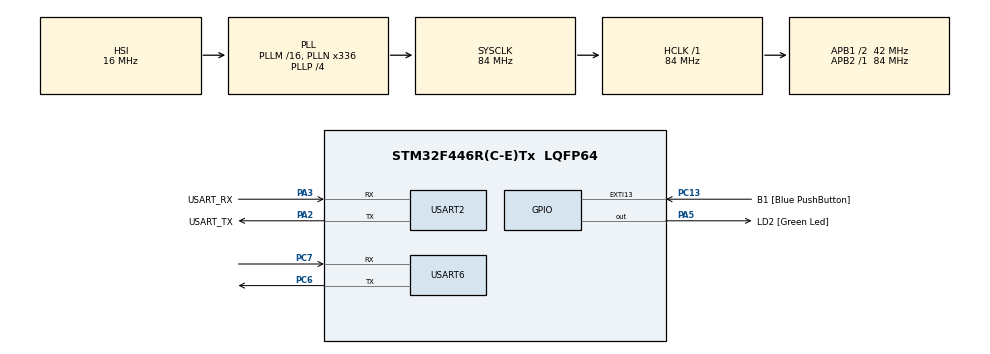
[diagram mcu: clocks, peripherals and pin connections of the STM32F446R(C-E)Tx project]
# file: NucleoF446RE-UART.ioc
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Mcu.Family=STM32F4
Mcu.Name=STM32F446R(C-E)Tx
Mcu.Package=LQFP64
NVIC.PriorityGroup=NVIC_PRIORITYGROUP_0
PA13.GPIO_Label=TMS
PA13.Mode=Serial_Wire
PA13.Signal=SYS_JTMS-SWDIO
PA14.GPIO_Label=TCK
PA14.Mode=Serial_Wire
PA14.Signal=SYS_JTCK-SWCLK
PA2.GPIO_Label=USART_TX
PA2.Mode=Asynchronous
PA2.Signal=USART2_TX
PA3.GPIO_Label=USART_RX
PA3.Mode=Asynchronous
PA3.Signal=USART2_RX
PA5.GPIO_Label=LD2 [Green Led]
PA5.Signal=GPIO_Output
PB3.GPIO_Label=SWO
PB3.Signal=SYS_JTDO-SWO
PC13.GPIO_Label=B1 [Blue PushButton]
PC13.GPIO_ModeDefaultEXTI=GPIO_MODE_IT_FALLING
PC13.Signal=GPXTI13
PC14-OSC32_IN.Mode=LSE-External-Oscillator
PC14-OSC32_IN.Signal=RCC_OSC32_IN
PC15-OSC32_OUT.Mode=LSE-External-Oscillator
PC15-OSC32_OUT.Signal=RCC_OSC32_OUT
PC6.Mode=Asynchronous
PC6.Signal=USART6_TX
PC7.Mode=Asynchronous
PC7.Signal=USART6_RX
PH0-OSC_IN.Mode=HSE-External-Oscillator
PH0-OSC_IN.Signal=RCC_OSC_IN
PH1-OSC_OUT.Mode=HSE-External-Oscillator
PH1-OSC_OUT.Signal=RCC_OSC_OUT
ProjectManager.HeapSize=0x200
ProjectManager.StackSize=0x400
ProjectManager.TargetToolchain=STM32CubeIDE
RCC.48MHZClocksFreq_Value=84000000
RCC.AHBFreq_Value=84000000
RCC.APB1CLKDivider=RCC_HCLK_DIV2
RCC.APB1Freq_Value=42000000
RCC.APB1TimFreq_Value=84000000
RCC.APB2Freq_Value=84000000
RCC.APB2TimFreq_Value=84000000
RCC.CortexFreq_Value=84000000
RCC.FLatency-AdvancedSettings=FLASH_LATENCY_2
RCC.HCLKFreq_Value=84000000
RCC.HSE_VALUE=8000000
RCC.HSI_VALUE=16000000
RCC.PLLN=336
RCC.PLLP=RCC_PLLP_DIV4
RCC.SYSCLKFreq_VALUE=84000000
RCC.SYSCLKSource=RCC_SYSCLKSOURCE_PLLCLK
RCC.USBFreq_Value=168000000
RCC.VCOOutputFreq_Value=336000000
USART2.VirtualMode=VM_ASYNC
USART6.VirtualMode=VM_ASYNC
board=NUCLEO-F446RE

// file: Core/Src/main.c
/* USER CODE BEGIN Header */
/**
  ******************************************************************************
  * @file           : main.c
  * @brief          : Main program body
  ******************************************************************************
  * @attention
  *
  * Copyright (c) 2024 STMicroelectronics.
  * All rights reserved.
  *
  * This software is licensed under terms that can be found in the LICENSE file
  * in the root directory of this software component.
  * If no LICENSE file comes with this software, it is provided AS-IS.
  *
  ******************************************************************************
  */
/* USER CODE END Header */
#include "main.h"

/* USER CODE BEGIN Includes */
#include <stdio.h>
/* USER CODE END Includes */

/* USER CODE BEGIN PD */
#ifdef __GNUC__
	#define PUTCHAR_PROTOTYPE int __io_putchar(int ch)
#else
	#define PUTCHAR_PROTOTYPE int fputc(int ch, FILE *f)
#endif /*__GNUC__*/
/* USER CODE END PD */

UART_HandleTypeDef huart2;
UART_HandleTypeDef huart6;

void SystemClock_Config(void);
static void MX_GPIO_Init(void);
static void MX_USART2_UART_Init(void);
static void MX_USART6_UART_Init(void);

/* USER CODE BEGIN 0 */
uint8_t data[10];
/* USER CODE END 0 */

int main(void)
{

  /* MCU Configuration--------------------------------------------------------*/

  /* Reset of all peripherals, Initializes the Flash interface and the Systick. */
  HAL_Init();

  /* Configure the system clock */
  SystemClock_Config();

  /* Initialize all configured peripherals */
  MX_GPIO_Init();
  MX_USART2_UART_Init();
  MX_USART6_UART_Init();
  /* USER CODE BEGIN 2 */
  printf("Start\n");
  /* USER CODE END 2 */

  /* Infinite loop */
  /* USER CODE BEGIN WHILE */
  while (1)
  {

	  uint8_t header[4] = {0xFF, 0xFF, 0xFD, 0x00};
	  uint8_t errcnt = 0;

	  HAL_UART_Receive(&huart6, (uint8_t*)data, sizeof(data)/sizeof(data[0]), 0xFFFF);

	  for(int i = 0; i < 4; i++) {
		  if(header[i] != data[i]) {
			  errcnt++;
		  }
	  }

	  uint16_t angle[3] = {0};

	  if(errcnt == 0) {
		  for(int i = 0; i < 3; i++) {
			  uint8_t _H, _L;
			  _H = data[4+i*2];
			  _L = data[5+i*2];

			  angle[i] = (_H << 8) | _L;
			  printf("%u ", angle[i]);
		  }
	  }

	  printf("\n");

    /* USER CODE END WHILE */

  }
}

void SystemClock_Config(void)
{
  RCC_OscInitTypeDef RCC_OscInitStruct = {0};
  RCC_ClkInitTypeDef RCC_ClkInitStruct = {0};

  /** Configure the main internal regulator output voltage
  */
  __HAL_RCC_PWR_CLK_ENABLE();
  __HAL_PWR_VOLTAGESCALING_CONFIG(PWR_REGULATOR_VOLTAGE_SCALE3);

  /** Initializes the RCC Oscillators according to the specified parameters
  * in the RCC_OscInitTypeDef structure.
  */
  RCC_OscInitStruct.OscillatorType = RCC_OSCILLATORTYPE_HSI;
  RCC_OscInitStruct.HSIState = RCC_HSI_ON;
  RCC_OscInitStruct.HSICalibrationValue = RCC_HSICALIBRATION_DEFAULT;
  RCC_OscInitStruct.PLL.PLLState = RCC_PLL_ON;
  RCC_OscInitStruct.PLL.PLLSource = RCC_PLLSOURCE_HSI;
  RCC_OscInitStruct.PLL.PLLM = 16;
  RCC_OscInitStruct.PLL.PLLN = 336;
  RCC_OscInitStruct.PLL.PLLP = RCC_PLLP_DIV4;
  RCC_OscInitStruct.PLL.PLLQ = 2;
  RCC_OscInitStruct.PLL.PLLR = 2;
  if (HAL_RCC_OscConfig(&RCC_OscInitStruct) != HAL_OK)
  {
    Error_Handler();
  }

  /** Initializes the CPU, AHB and APB buses clocks
  */
  RCC_ClkInitStruct.ClockType = RCC_CLOCKTYPE_HCLK|RCC_CLOCKTYPE_SYSCLK
                              |RCC_CLOCKTYPE_PCLK1|RCC_CLOCKTYPE_PCLK2;
  RCC_ClkInitStruct.SYSCLKSource = RCC_SYSCLKSOURCE_PLLCLK;
  RCC_ClkInitStruct.AHBCLKDivider = RCC_SYSCLK_DIV1;
  RCC_ClkInitStruct.APB1CLKDivider = RCC_HCLK_DIV2;
  RCC_ClkInitStruct.APB2CLKDivider = RCC_HCLK_DIV1;

  if (HAL_RCC_ClockConfig(&RCC_ClkInitStruct, FLASH_LATENCY_2) != HAL_OK)
  {
    Error_Handler();
  }
}

static void MX_USART2_UART_Init(void)
{

  huart2.Instance = USART2;
  huart2.Init.BaudRate = 115200;
  huart2.Init.WordLength = UART_WORDLENGTH_8B;
  huart2.Init.StopBits = UART_STOPBITS_1;
  huart2.Init.Parity = UART_PARITY_NONE;
  huart2.Init.Mode = UART_MODE_TX_RX;
  huart2.Init.HwFlowCtl = UART_HWCONTROL_NONE;
  huart2.Init.OverSampling = UART_OVERSAMPLING_16;
  if (HAL_UART_Init(&huart2) != HAL_OK)
  {
    Error_Handler();
  }

}

static void MX_USART6_UART_Init(void)
{

  huart6.Instance = USART6;
  huart6.Init.BaudRate = 115200;
  huart6.Init.WordLength = UART_WORDLENGTH_8B;
  huart6.Init.StopBits = UART_STOPBITS_1;
  huart6.Init.Parity = UART_PARITY_NONE;
  huart6.Init.Mode = UART_MODE_TX_RX;
  huart6.Init.HwFlowCtl = UART_HWCONTROL_NONE;
  huart6.Init.OverSampling = UART_OVERSAMPLING_16;
  if (HAL_UART_Init(&huart6) != HAL_OK)
  {
    Error_Handler();
  }

}

static void MX_GPIO_Init(void)
{
  GPIO_InitTypeDef GPIO_InitStruct = {0};

  /* GPIO Ports Clock Enable */
  __HAL_RCC_GPIOC_CLK_ENABLE();
  __HAL_RCC_GPIOH_CLK_ENABLE();
  __HAL_RCC_GPIOA_CLK_ENABLE();
  __HAL_RCC_GPIOB_CLK_ENABLE();

  /*Configure GPIO pin Output Level */
  HAL_GPIO_WritePin(LD2_GPIO_Port, LD2_Pin, GPIO_PIN_RESET);

  /*Configure GPIO pin : B1_Pin */
  GPIO_InitStruct.Pin = B1_Pin;
  GPIO_InitStruct.Mode = GPIO_MODE_IT_FALLING;
  GPIO_InitStruct.Pull = GPIO_NOPULL;
  HAL_GPIO_Init(B1_GPIO_Port, &GPIO_InitStruct);

  /*Configure GPIO pin : LD2_Pin */
  GPIO_InitStruct.Pin = LD2_Pin;
  GPIO_InitStruct.Mode = GPIO_MODE_OUTPUT_PP;
  GPIO_InitStruct.Pull = GPIO_NOPULL;
  GPIO_InitStruct.Speed = GPIO_SPEED_FREQ_LOW;
  HAL_GPIO_Init(LD2_GPIO_Port, &GPIO_InitStruct);

}

/* USER CODE BEGIN 4 */
PUTCHAR_PROTOTYPE {
	HAL_UART_Transmit(&huart2, (uint8_t*)&ch, 1, 0xFFFF);
	return ch;
}
/* USER CODE END 4 */

void Error_Handler(void)
{
  __disable_irq();
  while (1)
  {
  }
}
